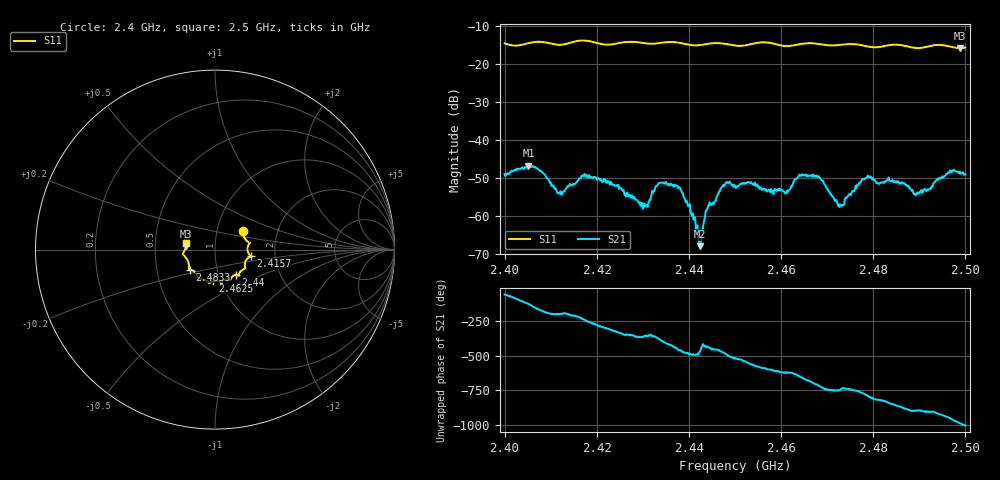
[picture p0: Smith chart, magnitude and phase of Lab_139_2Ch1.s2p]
# Hz S RI R 50
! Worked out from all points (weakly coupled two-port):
!   601 points, 2.4 GHz to 2.5 GHz, reference 50 ohm
!   highest |S21| = -46.72 dB at 2.4052 GHz (marker M1); lowest = -67.9 dB at 2.4423 GHz (marker M2)
!   lowest |S11| = -15.7 dB at 2.4988 GHz (marker M3), VSWR 1.39, Z = 36 + j1.36 ohm
!   |S11| at or under -10 dB: start of sweep to end of sweep
!   S12 and S22 are empty: the file has one direction only
!   S11 on the Smith chart (normalised r, x): 2.4 GHz: 1.33, +0.29; 2.4157 GHz: 1.49, -0.12; 2.44 GHz: 1.20, -0.35; 2.4625 GHz: 0.92, -0.34; 2.4833 GHz: 0.74, -0.17; 2.5 GHz: 0.72, +0.06
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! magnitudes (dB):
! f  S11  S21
! 2.4 GHz  -14.5  -48.9
! 2.4052 GHz  -14.4  -46.7
! 2.412 GHz  -14.8  -54.1
! 2.4157 GHz  -13.9  -51.0
! 2.4167 GHz  -13.7  -49.5
! 2.4305 GHz  -14.5  -57.4
! 2.4333 GHz  -14.4  -51.6
! 2.4377 GHz  -14.3  -52.6
! 2.44 GHz  -14.9  -57.3
! 2.4423 GHz  -14.9  -67.9
! 2.4442 GHz  -14.6  -57.2
! 2.4478 GHz  -14.6  -51.7
! 2.45 GHz  -15.0  -52.0
! 2.461 GHz  -15.2  -53.7
! 2.4625 GHz  -15.0  -51.7
! 2.4667 GHz  -14.4  -49.2
! 2.4728 GHz  -14.9  -56.9
! 2.4783 GHz  -15.2  -49.9
! 2.4833 GHz  -15.0  -49.8
! 2.4893 GHz  -15.7  -54.3
! 2.4988 GHz  -15.7  -48.3
! 2.5 GHz  -15.6  -48.9
